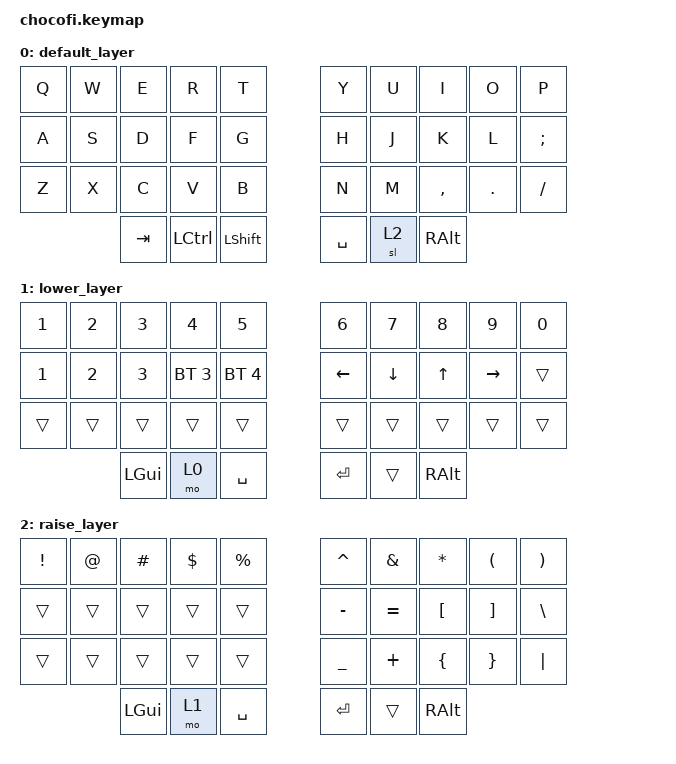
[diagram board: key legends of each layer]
/*
 * Copyright (c) 2020 The ZMK Contributors
 *
 * SPDX-License-Identifier: MIT
 */

#include <behaviors.dtsi>
#include <dt-bindings/zmk/bt.h>
#include <dt-bindings/zmk/keys.h>

/ {
    keymap {
        compatible = "zmk,keymap";

        default_layer {
            // -----------------------------------------------------------------------------------------
            // |  Q  |  W  |  E  |  R  |  T  |   |  Y  |  U   |  I  |  O  |  P  |
            // |  A  |  S  |  D  |  F  |  G  |   |  H  |  J   |  K  |  L  |  ;  |
            // |  Z  |  X  |  C  |  V  |  B  |   |  N  |  M   |  ,  |  .  |  /  |
            //                    | GUI | LWR | SPC |   | ENT | RSE  | ALT |

            bindings = <
  &kp Q  &kp W  &kp E    &kp R      &kp T             &kp Y      &kp U  &kp I      &kp O    &kp P
  &kp A  &kp S  &kp D    &kp F      &kp G             &kp H      &kp J  &kp K      &kp L    &kp SEMI
  &kp Z  &kp X  &kp C    &kp V      &kp B             &kp N      &kp M  &kp COMMA  &kp DOT  &kp FSLH
                &kp TAB  &kp LCTRL  &kp LEFT_SHIFT    &kp SPACE  &sl 2  &kp RALT
            >;
        };

        lower_layer {
            // -----------------------------------------------------------------------------------------
            // |  1  |  2  |  3  |  4  |  5  |   |  6  |  7  |  8  |  9  |  0  |
            // | BT1 | BT2 | BT3 | BT4 | BT5 |   | LFT | DWN |  UP | RGT |     |
            // |     |     |     |     |     |   |     |     |     |     |     |
            //                    | GUI |     | SPC |   | ENT |     | ALT |

            bindings = <
  &kp N1        &kp N2        &kp N3        &kp N4        &kp N5          &kp N6    &kp N7    &kp N8    &kp N9     &kp N0
  &kp NUMBER_1  &kp NUMBER_2  &kp NUMBER_3  &bt BT_SEL 3  &bt BT_SEL 4    &kp LEFT  &kp DOWN  &kp UP    &kp RIGHT  &trans
  &trans        &trans        &trans        &trans        &trans          &trans    &trans    &trans    &trans     &trans
                              &kp LGUI      &mo 0         &kp SPACE       &kp RET   &trans    &kp RALT
            >;
        };

        raise_layer {
            // -----------------------------------------------------------------------------------------
            // |  !  |  @  |  #  |  $  |  %  |   |  ^  |  &  |  *  |  (  |  )  |
            // |     |     |     |     |     |   |  -  |  =  |  [  |  ]  |  \  |
            // |     |     |     |     |     |   |  _  |  +  |  {  |  }  | "|" |
            //                    | GUI |     | SPC |   | ENT |     | ALT |

            bindings = <
  &kp EXCL  &kp AT  &kp HASH  &kp DLLR  &kp PRCNT    &kp CARET  &kp AMPS   &kp ASTRK  &kp LPAR  &kp RPAR
  &trans    &trans  &trans    &trans    &trans       &kp MINUS  &kp EQUAL  &kp LBKT   &kp RBKT  &kp BSLH
  &trans    &trans  &trans    &trans    &trans       &kp UNDER  &kp PLUS   &kp LBRC   &kp RBRC  &kp PIPE
                    &kp LGUI  &mo 1     &kp SPACE    &kp RET    &trans     &kp RALT
            >;
        };
    };
};
